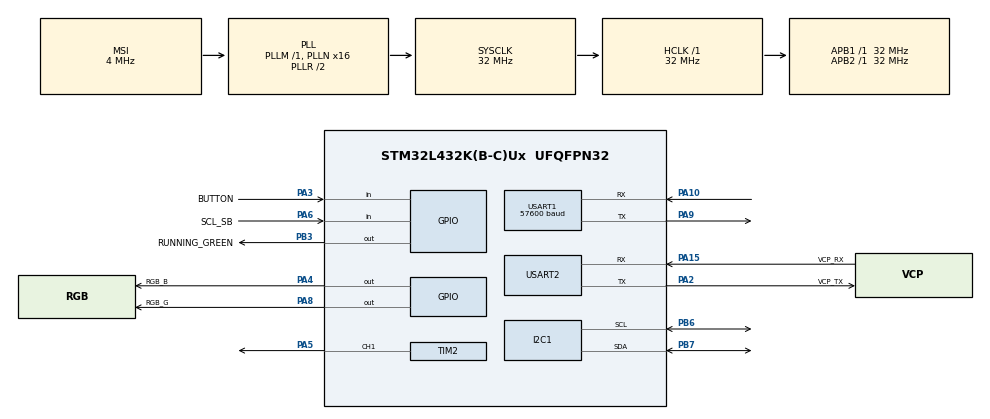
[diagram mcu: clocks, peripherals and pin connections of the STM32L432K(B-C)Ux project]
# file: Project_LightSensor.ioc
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Dma.Request0=TIM2_CH1
Dma.TIM2_CH1.0.Direction=DMA_MEMORY_TO_PERIPH
Dma.TIM2_CH1.0.Instance=DMA1_Channel5
Dma.TIM2_CH1.0.MemDataAlignment=DMA_MDATAALIGN_WORD
Dma.TIM2_CH1.0.MemInc=DMA_MINC_ENABLE
Dma.TIM2_CH1.0.Mode=DMA_NORMAL
Dma.TIM2_CH1.0.PeriphDataAlignment=DMA_PDATAALIGN_WORD
Dma.TIM2_CH1.0.PeriphInc=DMA_PINC_DISABLE
Dma.TIM2_CH1.0.Priority=DMA_PRIORITY_LOW
FREERTOS.Tasks01=controllerTask,24,128,StartControllerTask,Default,NULL,Dynamic,NULL,NULL
FREERTOS.configTOTAL_HEAP_SIZE=8000
FREERTOS.configUSE_NEWLIB_REENTRANT=1
I2C1.Timing=0x00707CBB
Mcu.Family=STM32L4
Mcu.Name=STM32L432K(B-C)Ux
Mcu.Package=UFQFPN32
NVIC.DMA1_Channel5_IRQn=true\:5\:0\:false\:false\:true\:true\:false\:true\:true
NVIC.PriorityGroup=NVIC_PRIORITYGROUP_4
NVIC.TIM6_DAC_IRQn=true\:15\:0\:false\:false\:true\:false\:false\:true\:true
NVIC.TimeBase=TIM6_DAC_IRQn
NVIC.TimeBaseIP=TIM6
NVIC.USART1_IRQn=true\:5\:0\:false\:false\:true\:true\:true\:true\:true
PA0.GPIO_Label=MCO [High speed clock in]
PA0.Mode=HSE-External-Clock-Source-for-LittleOrca
PA0.Signal=RCC_CK_IN
PA10.Mode=Asynchronous
PA10.Signal=USART1_RX
PA13\ (JTMS-SWDIO).GPIO_Label=SWDIO
PA13\ (JTMS-SWDIO).Mode=Serial_Wire
PA13\ (JTMS-SWDIO).Signal=SYS_JTMS-SWDIO
PA14\ (JTCK-SWCLK).GPIO_Label=SWCLK
PA14\ (JTCK-SWCLK).Mode=Serial_Wire
PA14\ (JTCK-SWCLK).Signal=SYS_JTCK-SWCLK
PA15\ (JTDI).GPIO_Label=VCP_RX
PA15\ (JTDI).Mode=Asynchronous
PA15\ (JTDI).Signal=USART2_RX
PA2.GPIO_Label=VCP_TX
PA2.Mode=Asynchronous
PA2.Signal=USART2_TX
PA3.GPIO_Label=BUTTON
PA3.Signal=GPIO_Input
PA4.GPIO_Label=RGB_B
PA4.PinState=GPIO_PIN_SET
PA4.Signal=GPIO_Output
PA5.Signal=S_TIM2_CH1
PA6.GPIO_Label=SCL_SB
PA6.Signal=GPIO_Input
PA8.GPIO_Label=RGB_G
PA8.PinState=GPIO_PIN_SET
PA8.Signal=GPIO_Output
PA9.Mode=Asynchronous
PA9.Signal=USART1_TX
PB3\ (JTDO-TRACESWO).GPIO_Label=RUNNING_GREEN
PB3\ (JTDO-TRACESWO).PinState=GPIO_PIN_SET
PB3\ (JTDO-TRACESWO).Signal=GPIO_Output
PB6.Mode=I2C
PB6.Signal=I2C1_SCL
PB7.Mode=I2C
PB7.Signal=I2C1_SDA
PC14-OSC32_IN\ (PC14).Mode=LSE-External-Oscillator
PC14-OSC32_IN\ (PC14).Signal=RCC_OSC32_IN
PC15-OSC32_OUT\ (PC15).Mode=LSE-External-Oscillator
PC15-OSC32_OUT\ (PC15).Signal=RCC_OSC32_OUT
ProjectManager.HeapSize=0x200
ProjectManager.StackSize=0x400
ProjectManager.TargetToolchain=STM32CubeIDE
RCC.AHBFreq_Value=32000000
RCC.APB1Freq_Value=32000000
RCC.APB1TimFreq_Value=32000000
RCC.APB2Freq_Value=32000000
RCC.APB2TimFreq_Value=32000000
RCC.CortexFreq_Value=32000000
RCC.HCLKFreq_Value=32000000
RCC.HSE_VALUE=8000000
RCC.HSI16_VALUE=16000000
RCC.HSI48_VALUE=48000000
RCC.HSI_VALUE=16000000
RCC.MSI_VALUE=4000000
RCC.PLLMUL=RCC_PLLMUL_4
RCC.PLLN=16
RCC.SYSCLKFreq_VALUE=32000000
RCC.SYSCLKSource=RCC_SYSCLKSOURCE_PLLCLK
RCC.VCOOutputFreq_Value=64000000
SH.S_TIM2_CH1.0=TIM2_CH1,PWM Generation1 CH1
TIM2.Channel-PWM\ Generation1\ CH1=TIM_CHANNEL_1
TIM2.Period=39
USART1.BaudRate=57600
USART1.VirtualMode-Asynchronous=VM_ASYNC
USART2.VirtualMode-Asynchronous=VM_ASYNC
VP_FREERTOS_VS_CMSIS_V2.Mode=CMSIS_V2
VP_SYS_VS_tim6.Mode=TIM6
board=NUCLEO-L432KC

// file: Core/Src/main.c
/* USER CODE BEGIN Header */
/**
  ******************************************************************************
  * @file           : main.c
  * @brief          : Main program body
  ******************************************************************************
  * @attention
  *
  * Copyright (c) 2024 STMicroelectronics.
  * All rights reserved.
  *
  * This software is licensed under terms that can be found in the LICENSE file
  * in the root directory of this software component.
  * If no LICENSE file comes with this software, it is provided AS-IS.
  *
  ******************************************************************************
  */
/* USER CODE END Header */
#include "main.h"
#include "cmsis_os.h"

/* USER CODE BEGIN Includes */
#include "stdio.h"
#include "pwm_driver.h"
#include "i2c_driver.h"
#include "math.h"
#include "uart.h"
#include "tasks.h"
/* USER CODE END Includes */

I2C_HandleTypeDef hi2c1;

TIM_HandleTypeDef htim2;
DMA_HandleTypeDef hdma_tim2_ch1;

UART_HandleTypeDef huart1;
UART_HandleTypeDef huart2;

/* Definitions for controllerTask */
osThreadId_t controllerTaskHandle;
const osThreadAttr_t controllerTask_attributes = {
  .name = "controllerTask",
  .stack_size = 128 * 4,
  .priority = (osPriority_t) osPriorityNormal,
};

void SystemClock_Config(void);
static void MX_GPIO_Init(void);
static void MX_DMA_Init(void);
static void MX_USART2_UART_Init(void);
static void MX_I2C1_Init(void);
static void MX_TIM2_Init(void);
static void MX_USART1_UART_Init(void);
void StartControllerTask(void *argument);

int main(void)
{

  /* MCU Configuration--------------------------------------------------------*/

  /* Reset of all peripherals, Initializes the Flash interface and the Systick. */
  HAL_Init();

  /* Configure the system clock */
  SystemClock_Config();

  /* Initialize all configured peripherals */
  MX_GPIO_Init();
  MX_DMA_Init();
  MX_USART2_UART_Init();
  MX_I2C1_Init();
  MX_TIM2_Init();
  MX_USART1_UART_Init();
  /* USER CODE BEGIN 2 */
  	pwm_Init(&htim2, &hdma_tim2_ch1);
    i2c_Init(&hi2c1);

    //Check for Color 10 Click
    if(!i2c_verifyDeviceID())
  	  Error_Handler();
    //Start measuring
    if(!i2c_startUp())
  	  Error_Handler();

  /* USER CODE END 2 */

  /* Init scheduler */
  osKernelInitialize();

  /* Create the thread(s) */
  /* creation of controllerTask */
  controllerTaskHandle = osThreadNew(StartControllerTask, NULL, &controllerTask_attributes);

  /* USER CODE BEGIN RTOS_THREADS */
  if(osThreadGetState(controllerTaskHandle)==osThreadError)
  	  Error_Handler();

  if(init_uart()==UART_ERROR)
	  Error_Handler();

  if(init_Tasks()==TASKS_ERROR)
	  Error_Handler();

  /* USER CODE END RTOS_THREADS */

  /* Start scheduler */
  osKernelStart();

  /* We should never get here as control is now taken by the scheduler */
  /* Infinite loop */
  while (1)
  {

  }
}

void SystemClock_Config(void)
{
  RCC_OscInitTypeDef RCC_OscInitStruct = {0};
  RCC_ClkInitTypeDef RCC_ClkInitStruct = {0};

  /** Configure the main internal regulator output voltage
  */
  if (HAL_PWREx_ControlVoltageScaling(PWR_REGULATOR_VOLTAGE_SCALE1) != HAL_OK)
  {
    Error_Handler();
  }

  /** Configure LSE Drive Capability
  */
  HAL_PWR_EnableBkUpAccess();
  __HAL_RCC_LSEDRIVE_CONFIG(RCC_LSEDRIVE_LOW);

  /** Initializes the RCC Oscillators according to the specified parameters
  * in the RCC_OscInitTypeDef structure.
  */
  RCC_OscInitStruct.OscillatorType = RCC_OSCILLATORTYPE_LSE|RCC_OSCILLATORTYPE_MSI;
  RCC_OscInitStruct.LSEState = RCC_LSE_ON;
  RCC_OscInitStruct.MSIState = RCC_MSI_ON;
  RCC_OscInitStruct.MSICalibrationValue = 0;
  RCC_OscInitStruct.MSIClockRange = RCC_MSIRANGE_6;
  RCC_OscInitStruct.PLL.PLLState = RCC_PLL_ON;
  RCC_OscInitStruct.PLL.PLLSource = RCC_PLLSOURCE_MSI;
  RCC_OscInitStruct.PLL.PLLM = 1;
  RCC_OscInitStruct.PLL.PLLN = 16;
  RCC_OscInitStruct.PLL.PLLP = RCC_PLLP_DIV7;
  RCC_OscInitStruct.PLL.PLLQ = RCC_PLLQ_DIV2;
  RCC_OscInitStruct.PLL.PLLR = RCC_PLLR_DIV2;
  if (HAL_RCC_OscConfig(&RCC_OscInitStruct) != HAL_OK)
  {
    Error_Handler();
  }

  /** Initializes the CPU, AHB and APB buses clocks
  */
  RCC_ClkInitStruct.ClockType = RCC_CLOCKTYPE_HCLK|RCC_CLOCKTYPE_SYSCLK
                              |RCC_CLOCKTYPE_PCLK1|RCC_CLOCKTYPE_PCLK2;
  RCC_ClkInitStruct.SYSCLKSource = RCC_SYSCLKSOURCE_PLLCLK;
  RCC_ClkInitStruct.AHBCLKDivider = RCC_SYSCLK_DIV1;
  RCC_ClkInitStruct.APB1CLKDivider = RCC_HCLK_DIV1;
  RCC_ClkInitStruct.APB2CLKDivider = RCC_HCLK_DIV1;

  if (HAL_RCC_ClockConfig(&RCC_ClkInitStruct, FLASH_LATENCY_1) != HAL_OK)
  {
    Error_Handler();
  }

  /** Enable MSI Auto calibration
  */
  HAL_RCCEx_EnableMSIPLLMode();
}

static void MX_I2C1_Init(void)
{

  hi2c1.Instance = I2C1;
  hi2c1.Init.Timing = 0x00707CBB;
  hi2c1.Init.OwnAddress1 = 0;
  hi2c1.Init.AddressingMode = I2C_ADDRESSINGMODE_7BIT;
  hi2c1.Init.DualAddressMode = I2C_DUALADDRESS_DISABLE;
  hi2c1.Init.OwnAddress2 = 0;
  hi2c1.Init.OwnAddress2Masks = I2C_OA2_NOMASK;
  hi2c1.Init.GeneralCallMode = I2C_GENERALCALL_DISABLE;
  hi2c1.Init.NoStretchMode = I2C_NOSTRETCH_DISABLE;
  if (HAL_I2C_Init(&hi2c1) != HAL_OK)
  {
    Error_Handler();
  }

  /** Configure Analogue filter
  */
  if (HAL_I2CEx_ConfigAnalogFilter(&hi2c1, I2C_ANALOGFILTER_ENABLE) != HAL_OK)
  {
    Error_Handler();
  }

  /** Configure Digital filter
  */
  if (HAL_I2CEx_ConfigDigitalFilter(&hi2c1, 0) != HAL_OK)
  {
    Error_Handler();
  }

}

static void MX_TIM2_Init(void)
{

  TIM_MasterConfigTypeDef sMasterConfig = {0};
  TIM_OC_InitTypeDef sConfigOC = {0};

  htim2.Instance = TIM2;
  htim2.Init.Prescaler = 0;
  htim2.Init.CounterMode = TIM_COUNTERMODE_UP;
  htim2.Init.Period = 39;
  htim2.Init.ClockDivision = TIM_CLOCKDIVISION_DIV1;
  htim2.Init.AutoReloadPreload = TIM_AUTORELOAD_PRELOAD_DISABLE;
  if (HAL_TIM_PWM_Init(&htim2) != HAL_OK)
  {
    Error_Handler();
  }
  sMasterConfig.MasterOutputTrigger = TIM_TRGO_RESET;
  sMasterConfig.MasterSlaveMode = TIM_MASTERSLAVEMODE_DISABLE;
  if (HAL_TIMEx_MasterConfigSynchronization(&htim2, &sMasterConfig) != HAL_OK)
  {
    Error_Handler();
  }
  sConfigOC.OCMode = TIM_OCMODE_PWM1;
  sConfigOC.Pulse = 0;
  sConfigOC.OCPolarity = TIM_OCPOLARITY_HIGH;
  sConfigOC.OCFastMode = TIM_OCFAST_DISABLE;
  if (HAL_TIM_PWM_ConfigChannel(&htim2, &sConfigOC, TIM_CHANNEL_1) != HAL_OK)
  {
    Error_Handler();
  }
  HAL_TIM_MspPostInit(&htim2);

}

static void MX_USART1_UART_Init(void)
{

  huart1.Instance = USART1;
  huart1.Init.BaudRate = 57600;
  huart1.Init.WordLength = UART_WORDLENGTH_8B;
  huart1.Init.StopBits = UART_STOPBITS_1;
  huart1.Init.Parity = UART_PARITY_NONE;
  huart1.Init.Mode = UART_MODE_TX_RX;
  huart1.Init.HwFlowCtl = UART_HWCONTROL_NONE;
  huart1.Init.OverSampling = UART_OVERSAMPLING_16;
  huart1.Init.OneBitSampling = UART_ONE_BIT_SAMPLE_DISABLE;
  huart1.AdvancedInit.AdvFeatureInit = UART_ADVFEATURE_NO_INIT;
  if (HAL_UART_Init(&huart1) != HAL_OK)
  {
    Error_Handler();
  }

}

static void MX_USART2_UART_Init(void)
{

  huart2.Instance = USART2;
  huart2.Init.BaudRate = 115200;
  huart2.Init.WordLength = UART_WORDLENGTH_8B;
  huart2.Init.StopBits = UART_STOPBITS_1;
  huart2.Init.Parity = UART_PARITY_NONE;
  huart2.Init.Mode = UART_MODE_TX_RX;
  huart2.Init.HwFlowCtl = UART_HWCONTROL_NONE;
  huart2.Init.OverSampling = UART_OVERSAMPLING_16;
  huart2.Init.OneBitSampling = UART_ONE_BIT_SAMPLE_DISABLE;
  huart2.AdvancedInit.AdvFeatureInit = UART_ADVFEATURE_NO_INIT;
  if (HAL_UART_Init(&huart2) != HAL_OK)
  {
    Error_Handler();
  }

}

static void MX_DMA_Init(void)
{

  /* DMA controller clock enable */
  __HAL_RCC_DMA1_CLK_ENABLE();

  /* DMA interrupt init */
  /* DMA1_Channel5_IRQn interrupt configuration */
  HAL_NVIC_SetPriority(DMA1_Channel5_IRQn, 5, 0);
  HAL_NVIC_EnableIRQ(DMA1_Channel5_IRQn);

}

static void MX_GPIO_Init(void)
{
  GPIO_InitTypeDef GPIO_InitStruct = {0};

  /* GPIO Ports Clock Enable */
  __HAL_RCC_GPIOC_CLK_ENABLE();
  __HAL_RCC_GPIOA_CLK_ENABLE();
  __HAL_RCC_GPIOB_CLK_ENABLE();

  /*Configure GPIO pin Output Level */
  HAL_GPIO_WritePin(GPIOA, RGB_B_Pin|RGB_G_Pin, GPIO_PIN_SET);

  /*Configure GPIO pin Output Level */
  HAL_GPIO_WritePin(RUNNING_GREEN_GPIO_Port, RUNNING_GREEN_Pin, GPIO_PIN_SET);

  /*Configure GPIO pins : BUTTON_Pin SCL_SB_Pin */
  GPIO_InitStruct.Pin = BUTTON_Pin|SCL_SB_Pin;
  GPIO_InitStruct.Mode = GPIO_MODE_INPUT;
  GPIO_InitStruct.Pull = GPIO_NOPULL;
  HAL_GPIO_Init(GPIOA, &GPIO_InitStruct);

  /*Configure GPIO pins : RGB_B_Pin RGB_G_Pin */
  GPIO_InitStruct.Pin = RGB_B_Pin|RGB_G_Pin;
  GPIO_InitStruct.Mode = GPIO_MODE_OUTPUT_PP;
  GPIO_InitStruct.Pull = GPIO_NOPULL;
  GPIO_InitStruct.Speed = GPIO_SPEED_FREQ_LOW;
  HAL_GPIO_Init(GPIOA, &GPIO_InitStruct);

  /*Configure GPIO pin : RUNNING_GREEN_Pin */
  GPIO_InitStruct.Pin = RUNNING_GREEN_Pin;
  GPIO_InitStruct.Mode = GPIO_MODE_OUTPUT_PP;
  GPIO_InitStruct.Pull = GPIO_NOPULL;
  GPIO_InitStruct.Speed = GPIO_SPEED_FREQ_LOW;
  HAL_GPIO_Init(RUNNING_GREEN_GPIO_Port, &GPIO_InitStruct);

}

/* USER CODE BEGIN Header_StartControllerTask */
/**
  * @brief  Function implementing ControllerTask
  * @param  argument: Not used
  * @retval None
  */
/* USER CODE END Header_StartControllerTask */
void StartControllerTask(void *argument)
{
  /* USER CODE BEGIN 5 */
    RGB_t colors;
    colors.red = 0;
    colors.green = 0;
    colors.blue = 0;

    pwm_SendValues(colors);

    uint32_t update_flags = 0;
    struct MEASUREMENT_S values;
    values.blue = 0;
    values.green = 0;
    values.red = 0;
    values.clear = 0;
    values.infrared = 0;

    while(pwm_StartUpAnimation()==RUNNING)
      {
      	//Do Startup Animation
      }
  /* Infinite loop */
  for(;;)
  {
	 update_flags = osEventFlagsWait(colorUpdateEventHandle,DONE_OR_NEW_COLOR,osFlagsNoClear,osWaitForever);
	 if(update_flags == MEASUREMENT_DONE)
	 {
		 	osEventFlagsClear(colorUpdateEventHandle, MEASUREMENT_DONE);
	  	if(osMessageQueueGet(MeasurementQueueHandle, &values, 0, osWaitForever)==osOK)
	  		printf("MEA:%u,%u,%u,%u,%u\r\n",values.red,values.green,values.blue,values.infrared,values.clear);
	  	else
	  		printf("MEA:0,0,0,0,0\r\n");
	 }
	 else if(update_flags == NEW_COLOR)
	 {
		 osEventFlagsClear(colorUpdateEventHandle, NEW_COLOR);
		 if(osMessageQueueGet(colorUpdateQueueHandle, &colors, 0, osWaitForever)==osOK)
		 {
			 pwm_SendValues(colors);
		 }
	 }
	 osDelay(10);

  }
  /* USER CODE END 5 */
}

void HAL_TIM_PeriodElapsedCallback(TIM_HandleTypeDef *htim)
{
  if (htim->Instance == TIM6) {
    HAL_IncTick();
  }
}

void Error_Handler(void)
{
  /* USER CODE BEGIN Error_Handler_Debug */
	HAL_GPIO_WritePin(RUNNING_GREEN_GPIO_Port, RUNNING_GREEN_Pin, GPIO_PIN_RESET);
  __disable_irq();
  while (1)
  {
  }
  /* USER CODE END Error_Handler_Debug */
}
